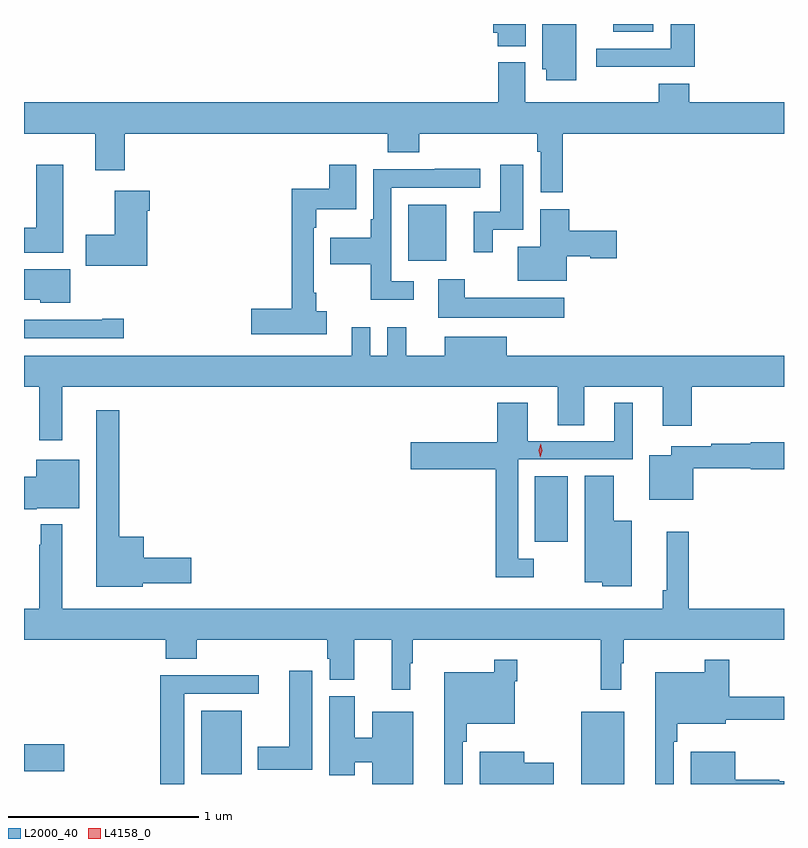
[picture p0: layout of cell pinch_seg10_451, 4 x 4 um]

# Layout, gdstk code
import gdstk
lib = gdstk.Library(unit=1e-6, precision=1e-09)
def R(c, l, rs):  # rectangles x0, y0, x1, y1
    for r in rs: c.add(gdstk.rectangle(r[:2], r[2:], *l))
def P(c, l, *ps):  # polygons
    for p in ps: c.add(gdstk.Polygon(p, *l))
L2000_40 = (2000, 40)
L4158_0 = (4158, 0)

pinch_seg10_451 = lib.new_cell('pinch_seg10_451')
R(pinch_seg10_451, L2000_40, [(318.746,1299.557,318.973,1299.937), (316.748,1299.608,316.96,1299.943), (315.814,1299.625,316.027,1299.767), (318.503,1300.832,318.676,1301.176), (317.837,1302.311,318.037,1302.607), (318.914,1303.517,319.126,1303.557)])
P(pinch_seg10_451, L2000_40, [(319.343,1303.557),(319.217,1303.557),(319.217,1303.428),(318.825,1303.428),(318.825,1303.331),(319.343,1303.331)],
  [(318.454,1303.557),(318.284,1303.557),(318.284,1303.512),(318.308,1303.512),(318.308,1303.441),(318.454,1303.441)],
  [(318.721,1303.557),(318.542,1303.557),(318.542,1303.32),(318.563,1303.32),(318.563,1303.26),(318.721,1303.26)],
  [(315.814,1302.98),(316.19,1302.98),(316.19,1302.786),(316.343,1302.786),(316.343,1302.98),(317.729,1302.98),(317.729,1302.881),(317.894,1302.881),(317.894,1302.98),(318.514,1302.98),(318.514,1302.884),(318.534,1302.884),(318.534,1302.672),(318.65,1302.672),(318.65,1302.98),(319.814,1302.98),(319.814,1303.144),(319.316,1303.144),(319.316,1303.243),(319.156,1303.243),(319.156,1303.144),(318.451,1303.144),(318.451,1303.356),(318.311,1303.356),(318.311,1303.144),(315.814,1303.144)],
  [(317.407,1302.046),(317.353,1302.046),(317.353,1302.142),(317.34,1302.142),(317.34,1302.485),(317.353,1302.485),(317.353,1302.581),(317.563,1302.581),(317.563,1302.817),(317.42,1302.817),(317.42,1302.691),(317.224,1302.691),(317.224,1302.059),(317.01,1302.059),(317.01,1301.924),(317.407,1301.924)],
  [(318.28,1302.474),(318.442,1302.474),(318.442,1302.817),(318.32,1302.817),(318.32,1302.57),(318.182,1302.57),(318.182,1302.357),(318.28,1302.357)],
  [(316.021,1302.817),(315.878,1302.817),(315.878,1302.484),(315.814,1302.484),(315.814,1302.353),(316.021,1302.353)],
  [(317.866,1302.204),(317.748,1302.204),(317.748,1302.696),(318.214,1302.696),(318.214,1302.794),(317.977,1302.794),(317.977,1302.792),(317.652,1302.792),(317.652,1302.529),(317.64,1302.529),(317.64,1302.433),(317.425,1302.433),(317.425,1302.293),(317.64,1302.293),(317.64,1302.107),(317.866,1302.107)],
  [(316.462,1302.575),(316.475,1302.575),(316.475,1302.679),(316.292,1302.679),(316.292,1302.447),(316.14,1302.447),(316.14,1302.284),(316.462,1302.284)],
  [(318.67,1302.335),(318.794,1302.335),(318.794,1302.323),(318.934,1302.323),(318.934,1302.47),(318.683,1302.47),(318.683,1302.583),(318.53,1302.583),(318.53,1302.385),(318.413,1302.385),(318.413,1302.206),(318.67,1302.206)],
  [(316.057,1302.265),(315.814,1302.265),(315.814,1302.107),(315.9,1302.107),(315.9,1302.089),(316.057,1302.089)],
  [(318.658,1302.115),(318.133,1302.115),(318.133,1302.214),(317.993,1302.214),(317.993,1302.011),(318.658,1302.011)],
  [(316.339,1302.005),(316.226,1302.005),(316.226,1302),(315.814,1302),(315.814,1301.904),(316.339,1301.904)],
  [(316.015,1301.648),(318.623,1301.648),(318.623,1301.446),(318.763,1301.446),(318.763,1301.648),(319.175,1301.648),(319.175,1301.442),(319.328,1301.442),(319.328,1301.648),(319.814,1301.648),(319.814,1301.812),(318.355,1301.812),(318.355,1301.911),(318.029,1301.911),(318.029,1301.812),(317.825,1301.812),(317.825,1301.962),(317.727,1301.962),(317.727,1301.812),(317.637,1301.812),(317.637,1301.962),(317.54,1301.962),(317.54,1301.812),(315.814,1301.812),(315.814,1301.648),(315.894,1301.648),(315.894,1301.367),(316.015,1301.367)],
  [(318.496,1300.743),(318.414,1300.743),(318.414,1301.265),(319.018,1301.265),(319.018,1301.563),(318.92,1301.563),(318.92,1301.361),(318.466,1301.361),(318.466,1301.563),(318.305,1301.563),(318.305,1301.355),(317.85,1301.355),(317.85,1301.213),(318.298,1301.213),(318.298,1300.646),(318.496,1300.646)],
  [(316.44,1300.613),(316.693,1300.613),(316.693,1300.748),(316.444,1300.748),(316.444,1300.858),(316.315,1300.858),(316.315,1301.524),(316.193,1301.524),(316.193,1300.595),(316.44,1300.595)],
  [(319.336,1301.218),(319.638,1301.218),(319.638,1301.213),(319.814,1301.213),(319.814,1301.355),(319.638,1301.355),(319.638,1301.347),(319.432,1301.347),(319.432,1301.334),(319.22,1301.334),(319.22,1301.287),(319.106,1301.287),(319.106,1301.054),(319.336,1301.054)],
  [(315.882,1301.009),(316.105,1301.009),(316.105,1301.263),(315.878,1301.263),(315.878,1301.175),(315.814,1301.175),(315.814,1301.003),(315.882,1301.003)],
  [(319.012,1300.942),(318.919,1300.942),(318.919,1301.18),(318.764,1301.18),(318.764,1300.619),(318.858,1300.619),(318.858,1300.598),(319.012,1300.598)],
  [(317.848,1300.193),(317.86,1300.193),(317.86,1300.316),(318.849,1300.316),(318.849,1300.053),(318.958,1300.053),(318.958,1300.193),(318.97,1300.193),(318.97,1300.316),(319.814,1300.316),(319.814,1300.48),(319.313,1300.48),(319.313,1300.885),(319.196,1300.885),(319.196,1300.576),(319.177,1300.576),(319.177,1300.48),(316.015,1300.48),(316.015,1300.924),(315.901,1300.924),(315.901,1300.817),(315.894,1300.817),(315.894,1300.48),(315.814,1300.48),(315.814,1300.316),(316.559,1300.316),(316.559,1300.217),(316.724,1300.217),(316.724,1300.316),(317.411,1300.316),(317.411,1300.215),(317.423,1300.215),(317.423,1300.105),(317.551,1300.105),(317.551,1300.316),(317.75,1300.316),(317.75,1300.053),(317.848,1300.053)],
  [(319.233,1299.779),(319.253,1299.779),(319.253,1299.875),(319.507,1299.875),(319.507,1299.894),(319.814,1299.894),(319.814,1300.015),(319.526,1300.015),(319.526,1300.21),(319.398,1300.21),(319.398,1300.144),(319.136,1300.144),(319.136,1299.557),(319.233,1299.557)],
  [(318.123,1299.779),(318.143,1299.779),(318.143,1299.875),(318.396,1299.875),(318.396,1300.097),(318.409,1300.097),(318.409,1300.21),(318.288,1300.21),(318.288,1300.144),(318.026,1300.144),(318.026,1299.557),(318.123,1299.557)],
  [(317.332,1300.153),(317.21,1300.153),(317.21,1299.754),(317.045,1299.754),(317.045,1299.632),(317.332,1299.632)],
  [(316.657,1300.032),(317.05,1300.032),(317.05,1300.13),(316.532,1300.13),(316.532,1299.557),(316.657,1299.557)],
  [(317.863,1299.937),(317.648,1299.937),(317.648,1299.801),(317.554,1299.801),(317.554,1300.02),(317.42,1300.02),(317.42,1299.604),(317.554,1299.604),(317.554,1299.671),(317.648,1299.671),(317.648,1299.557),(317.863,1299.557)],
  [(318.601,1299.668),(318.448,1299.668),(318.448,1299.727),(318.212,1299.727),(318.212,1299.557),(318.601,1299.557)],
  [(319.814,1299.571),(319.79,1299.571),(319.79,1299.579),(319.558,1299.579),(319.558,1299.727),(319.322,1299.727),(319.322,1299.557),(319.814,1299.557)])
P(pinch_seg10_451, L4158_0, [(318.53,1301.277),(318.53,1301.277),(318.522,1301.314),(318.534,1301.349),(318.534,1301.349),(318.534,1301.349),(318.542,1301.312),(318.53,1301.277)])

lib.write_gds('pinch_seg10_451.gds')
